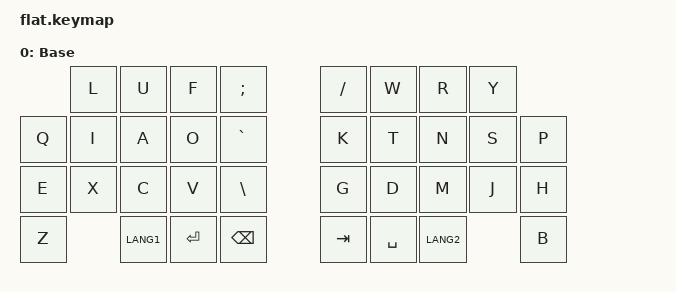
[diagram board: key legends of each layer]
#include <behaviors.dtsi>
#include <dt-bindings/zmk/keys.h>
#include <behaviors/battery_history_request.dtsi>

/ {
    behaviors {
    };

    keymap {
        compatible = "zmk,keymap";

        // template {
            //     bindings = <
            //                     &trans      &trans      &trans      &trans      /**/ &trans      &trans      &trans      &trans
            //         &trans      &trans      &trans      &trans      &trans      /**/ &trans      &trans      &trans      &trans      &trans
            //         &trans      &trans      &trans      &trans      &trans      /**/ &trans      &trans      &trans      &trans      &trans
            //         &trans                  &trans      &trans      &trans      /**/ &trans      &trans      &trans                  &trans
            //     >;
        // };

        default_layer {
            display-name = "Base";

            // --------------------------------------------------------------------------------------------------------------------------------------------------
            // |       |   L   |   U   |   F   |   ;   |       |   /   |   W   |   R   |   Y   |       |
            // |   Q   |   I   |   A   |   O   |   `   |       |   K   |   T   |   N   |   S   |   P   |
            // |   E   |   X   |   C   |   V   |   \   |       |   G   |   D   |   M   |   J   |   H   |
            // |   Z   |       | LANG1 | ENTER | BSPC  |       |  TAB  | SPACE | LANG2 |       |   B   |


            bindings = <
                            &kp L       &kp U       &kp F       &kp SEMI    /**/ &kp FSLH    &kp W       &kp R       &kp Y
                &kp Q       &kp I       &kp A       &kp O       &kp GRAVE   /**/ &kp K       &kp T       &kp N       &kp S       &kp P
                &kp E       &kp X       &kp C       &kp V       &kp BSLH    /**/ &kp G       &kp D       &kp M       &kp J       &kp H
                &kp Z                   &kp LANG1   &kp ENTER   &kp BSPC    /**/ &kp TAB     &kp SPACE   &kp LANG2               &kp B
            >;
        };
    };
};
